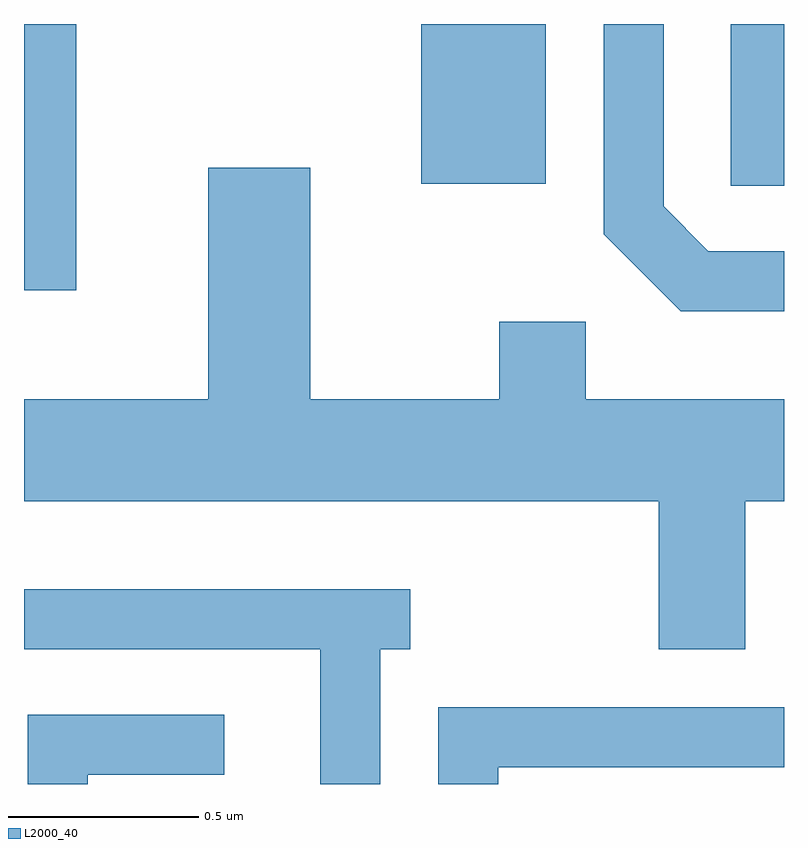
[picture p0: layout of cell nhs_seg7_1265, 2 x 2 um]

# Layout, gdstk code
import gdstk
lib = gdstk.Library(unit=1e-6, precision=1e-09)
def R(c, l, rs):  # rectangles x0, y0, x1, y1
    for r in rs: c.add(gdstk.rectangle(r[:2], r[2:], *l))
def P(c, l, *ps):  # polygons
    for p in ps: c.add(gdstk.Polygon(p, *l))
L2000_40 = (2000, 40)

nhs_seg7_1265 = lib.new_cell('nhs_seg7_1265')
R(nhs_seg7_1265, L2000_40, [(194.611,1701.551,194.749,1702.252), (196.471,1701.826,196.611,1702.252), (195.656,1701.831,195.984,1702.252)])
P(nhs_seg7_1265, L2000_40, [(196.611,1701.654),(196.412,1701.654),(196.294,1701.772),(196.294,1702.252),(196.136,1702.252),(196.136,1701.699),(196.339,1701.496),(196.611,1701.496)],
  [(196.509,1700.996),(196.611,1700.996),(196.611,1701.264),(196.089,1701.264),(196.089,1701.469),(195.861,1701.469),(195.861,1701.264),(195.364,1701.264),(195.364,1701.874),(195.096,1701.874),(195.096,1701.264),(194.611,1701.264),(194.611,1700.996),(196.281,1700.996),(196.281,1700.606),(196.509,1700.606)],
  [(195.549,1700.606),(195.628,1700.606),(195.628,1700.764),(194.611,1700.764),(194.611,1700.606),(195.391,1700.606),(195.391,1700.252),(195.549,1700.252)],
  [(195.859,1700.296),(196.611,1700.296),(196.611,1700.454),(195.701,1700.454),(195.701,1700.252),(195.859,1700.252)],
  [(194.779,1700.276),(195.138,1700.276),(195.138,1700.434),(194.621,1700.434),(194.621,1700.252),(194.779,1700.252)])

lib.write_gds('nhs_seg7_1265.gds')
